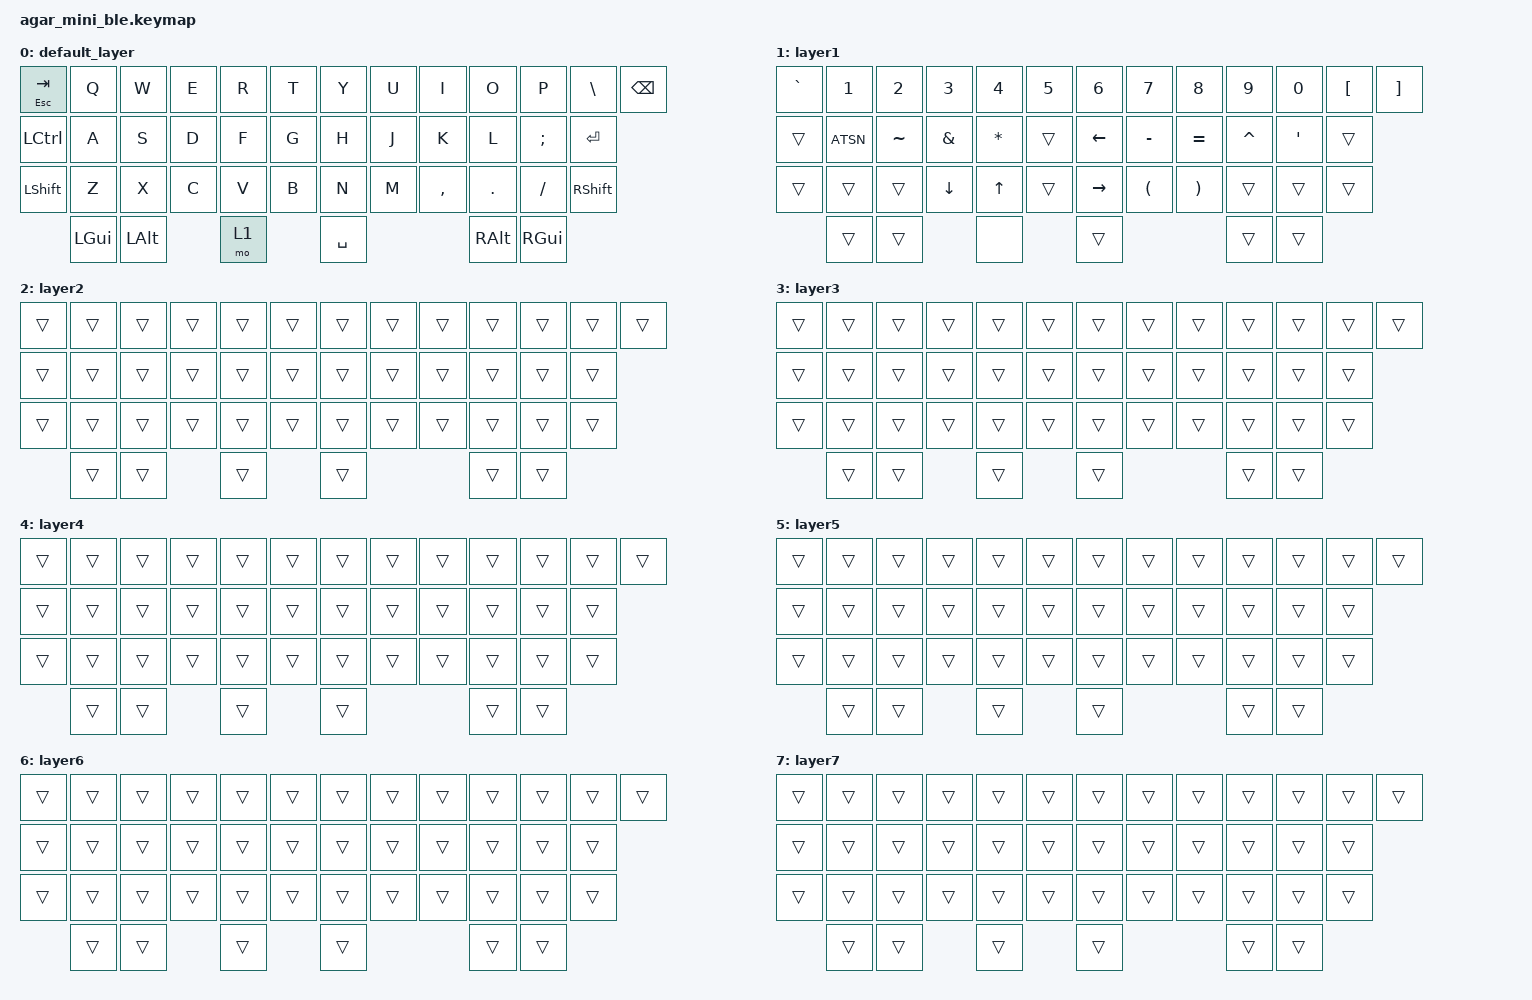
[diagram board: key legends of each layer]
/*
 * Copyright (c) 2021 The ZMK Contributors
 *
 * SPDX-License-Identifier: MIT
 */

#include "./boards/shields/klink_kbd/common.keymap"
#include <behaviors.dtsi>
#include <dt-bindings/zmk/keys.h>
#include <dt-bindings/zmk/pointing.h>

/ {
    keymap {
        compatible = "zmk,keymap";

        default_layer {
            bindings = <
&mt ESC TAB     &kp Q      &kp W     &kp E  &kp R        &kp T  &kp Y      &kp U  &kp I      &kp O           &kp P      &kp BACKSLASH  &kp BSPC
&kp LCTRL       &kp A      &kp S     &kp D  &kp F        &kp G  &kp H      &kp J  &kp K      &kp L           &kp SEMI   &kp RET
&kp LSHFT       &kp Z      &kp X     &kp C  &kp V        &kp B  &kp N      &kp M  &kp COMMA  &kp DOT         &kp SLASH  &kp RSHIFT
                &kp LGUI   &kp LALT         &mo 1               &kp SPACE                    &kp RALT        &kp RGUI
            >;
        };

        layer1 {
            bindings = <
&kp GRAVE  &kp N1    &kp N2     &kp N3       &kp N4          &kp N5           &kp N6       &kp N7      &kp N8     &kp N9     &kp N0     &kp LEFT_BRACKET  &kp RIGHT_BRACKET
&trans     &kp ATSN  &kp TILDE  &kp AMPS     &kp STAR        &trans           &kp LEFT     &kp MINUS   &kp EQUAL  &kp CARET  &kp SINGLE_QUOTE  &trans
&trans     &trans    &trans     &kp DOWN     &kp UP          &trans           &kp RIGHT    &kp LPAR    &kp RPAR   &trans     &trans            &trans
           &trans    &trans                  &none                            &trans                                         &trans            &trans
            >;
        };

        layer2 {
            bindings = <
&trans  &trans  &trans  &trans  &trans  &trans  &trans  &trans  &trans  &trans  &trans  &trans  &trans
&trans  &trans  &trans  &trans  &trans  &trans  &trans  &trans  &trans  &trans  &trans  &trans
&trans  &trans  &trans  &trans  &trans  &trans  &trans  &trans  &trans  &trans  &trans  &trans
        &trans  &trans          &trans          &trans                  &trans  &trans
            >;
        };

        layer3 {
            bindings = <
&trans  &trans  &trans  &trans  &trans  &trans  &trans  &trans  &trans  &trans  &trans  &trans  &trans
&trans  &trans  &trans  &trans  &trans  &trans  &trans  &trans  &trans  &trans  &trans  &trans
&trans  &trans  &trans  &trans  &trans  &trans  &trans  &trans  &trans  &trans  &trans  &trans
        &trans  &trans          &trans          &trans                  &trans  &trans
            >;
        };

        layer4 {
            bindings = <
&trans  &trans  &trans  &trans  &trans  &trans  &trans  &trans  &trans  &trans  &trans  &trans  &trans
&trans  &trans  &trans  &trans  &trans  &trans  &trans  &trans  &trans  &trans  &trans  &trans
&trans  &trans  &trans  &trans  &trans  &trans  &trans  &trans  &trans  &trans  &trans  &trans
        &trans  &trans          &trans          &trans                  &trans  &trans
            >;
        };

        layer5 {
            bindings = <
&trans  &trans  &trans  &trans  &trans  &trans  &trans  &trans  &trans  &trans  &trans  &trans  &trans
&trans  &trans  &trans  &trans  &trans  &trans  &trans  &trans  &trans  &trans  &trans  &trans
&trans  &trans  &trans  &trans  &trans  &trans  &trans  &trans  &trans  &trans  &trans  &trans
        &trans  &trans          &trans          &trans                  &trans  &trans
            >;
        };

        layer6 {
            bindings = <
&trans  &trans  &trans  &trans  &trans  &trans  &trans  &trans  &trans  &trans  &trans  &trans  &trans
&trans  &trans  &trans  &trans  &trans  &trans  &trans  &trans  &trans  &trans  &trans  &trans
&trans  &trans  &trans  &trans  &trans  &trans  &trans  &trans  &trans  &trans  &trans  &trans
        &trans  &trans          &trans          &trans                  &trans  &trans
            >;
        };

        layer7 {
            bindings = <
&trans  &trans  &trans  &trans  &trans  &trans  &trans  &trans  &trans  &trans  &trans  &trans  &trans
&trans  &trans  &trans  &trans  &trans  &trans  &trans  &trans  &trans  &trans  &trans  &trans
&trans  &trans  &trans  &trans  &trans  &trans  &trans  &trans  &trans  &trans  &trans  &trans
        &trans  &trans          &trans          &trans                  &trans  &trans
            >;
        };
    };
};
